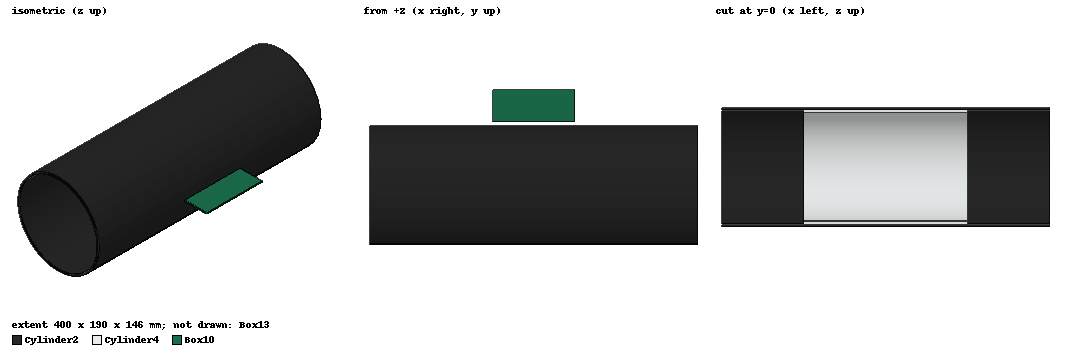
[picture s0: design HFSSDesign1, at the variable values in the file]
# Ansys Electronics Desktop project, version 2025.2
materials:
  vacuum: permittivity=1
  copper: permeability=0.999991 conductivity=58000000
  air: permittivity=1.0006 permeability=1.0000004
  graphite: conductivity=70000
  FR4_epoxy: permittivity=4.4 dielectric_loss_tangent=0.02
  cast_iron: permeability=60 conductivity=1500000
  CF - Carbon fiber: conductivity=252.337
  aluminum: permeability=1.000021 conductivity=38000000

design HFSSDesign1 (HFSS, HFSS Terminal Network, model units mm)
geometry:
  Box10 [FR4_epoxy] = box(corner=(50mm, (77+40) mm, 0.8mm), size=(-100mm, -40mm, -1.6mm))
  Cylinder2 [CF - Carbon fiber] = cylinder(axis=X, base_centre=(-200mm, 0mm, 0mm), radius=73mm, height=400mm, segments=32)
  Cylinder3 = cylinder(axis=X, base_centre=(200mm, 0mm, 0mm), radius=70mm, height=-400mm)
  Cylinder2.subtract(Cylinder3)
  Box13 [air] = box(corner=(-250mm, 200mm, 100mm), size=(500mm, -400mm, -200mm))
  Box14 [vacuum] = box(corner=(50mm, 77mm, -0.8mm), size=(-100mm, 40mm, -0.035mm))
  Cylinder4 [aluminum] = cylinder(axis=X, base_centre=(-100mm, 0mm, 0mm), radius=70mm, height=200mm, segments=32)
  Cylinder5 = cylinder(axis=X, base_centre=(100mm, 0mm, 0mm), radius=66.5mm, height=-200mm)
  Cylinder4.subtract(Cylinder5)
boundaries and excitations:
  Rad1: Radiation Objects=Box13
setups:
  Setup1: HfssDriven Frequency=915MHz MaxDeltaE=0.1 MaximumPasses=10 MinimumPasses=1 MinimumConvergedPasses=1 PercentRefinement=30 BasisOrder=1 DrivenSolverType="Direct Solver"
    sweep Sweep: 500MHz to 1200MHz, 120 points; Type=Discrete SaveFields SaveRadFields
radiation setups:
  Infinite Sphere1: Infinite Sphere Theta=0deg..180deg step 2deg Phi=-180deg..180deg step 2deg
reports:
  Terminal S Parameter Plot1: dB(St(Box11_T1,Box11_T1)) vs Freq on Setup1 : Sweep
  Terminal VSWR Plot1: VSWRt(Box11_T1) vs Freq on Setup1 : Sweep
  Gain Plot1: dB(GainTotal) vs Phi, Theta on Setup1 : LastAdaptive, Infinite Sphere1 [Freq=0.915GHz]
